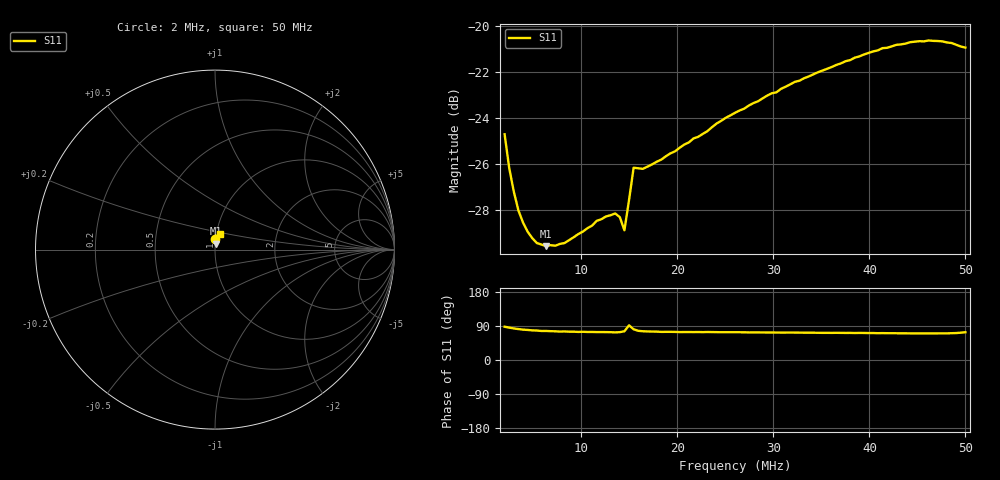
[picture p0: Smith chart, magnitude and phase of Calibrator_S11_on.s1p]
# Hz S RI R 50
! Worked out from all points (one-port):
!   101 points, 2 MHz to 50 MHz, reference 50 ohm
!   lowest |S11| = -29.6 dB at 6.32 MHz (marker M1), VSWR 1.07, Z = 50.7 + j3.27 ohm
!   |S11| at or under -10 dB: start of sweep to end of sweep
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2000000  0.00217 0.058
2480000  0.00389 0.0488
2960000  0.00509 0.0432
3440000  0.00577 0.0392
3920000  0.00642 0.0367
4400000  0.00661 0.035
4880000  0.00708 0.0338
5360000  0.00713 0.0329
6320000  0.00765 0.0322
8240000  0.0085 0.0326
1.112e7  0.0101 0.0353
1.16e7  0.0106 0.0361
1.352e7  0.0115 0.0373
1.4e7  0.0109 0.0367
1.448e7  0.00881 0.0348
1.496e7  -0.00115 0.0417
1.544e7  0.00763 0.0485
1.64e7  0.0119 0.0473
1.832e7  0.0139 0.0492
2.024e7  0.0152 0.0521
2.6e7  0.0186 0.0619
3.224e7  0.0229 0.0719
3.8e7  0.0267 0.0798
4.136e7  0.0292 0.0845
4.424e7  0.0312 0.0866
4.616e7  0.0316 0.0874
4.76e7  0.0312 0.087
5e7  0.0258 0.0858
